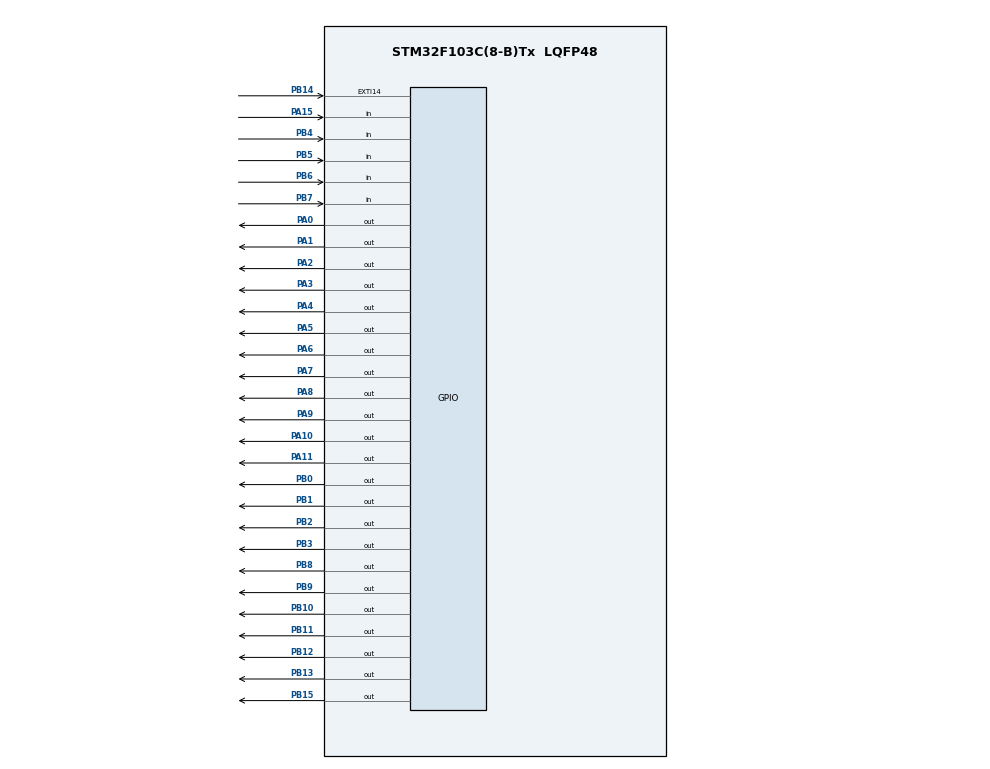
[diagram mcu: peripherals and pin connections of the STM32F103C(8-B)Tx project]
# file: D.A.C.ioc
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Mcu.Family=STM32F1
Mcu.Name=STM32F103C(8-B)Tx
Mcu.Package=LQFP48
NVIC.PriorityGroup=NVIC_PRIORITYGROUP_4
PA0-WKUP.Signal=GPIO_Output
PA1.Signal=GPIO_Output
PA10.Signal=GPIO_Output
PA11.Signal=GPIO_Output
PA13.Signal=SYS_JTMS-SWDIO
PA14.Signal=SYS_JTCK-SWCLK
PA15.Signal=GPIO_Input
PA2.Signal=GPIO_Output
PA3.Signal=GPIO_Output
PA4.Signal=GPIO_Output
PA5.Signal=GPIO_Output
PA6.Signal=GPIO_Output
PA7.Signal=GPIO_Output
PA8.Signal=GPIO_Output
PA9.Signal=GPIO_Output
PB0.Signal=GPIO_Output
PB1.Signal=GPIO_Output
PB10.Signal=GPIO_Output
PB11.Signal=GPIO_Output
PB12.Signal=GPIO_Output
PB13.Signal=GPIO_Output
PB14.Signal=GPXTI14
PB15.Signal=GPIO_Output
PB2.Signal=GPIO_Output
PB3.Signal=GPIO_Output
PB4.Signal=GPIO_Input
PB5.Signal=GPIO_Input
PB6.Signal=GPIO_Input
PB7.Signal=GPIO_Input
PB8.Signal=GPIO_Output
PB9.Signal=GPIO_Output
ProjectManager.HeapSize=0x200
ProjectManager.StackSize=0x400
ProjectManager.TargetToolchain=STM32CubeIDE
RCC.APB1Freq_Value=8000000
RCC.APB2Freq_Value=8000000
TIM1.Period=7999
TIM2.Period=799
VP_SYS_VS_ND.Mode=No_Debug
VP_TIM1_VS_ClockSourceINT.Mode=Internal
VP_TIM2_VS_ClockSourceINT.Mode=Internal
board=custom

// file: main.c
/* USER CODE BEGIN Header */
/**
  ******************************************************************************
  * @file           : main.c
  * @brief          : Main program body
  ******************************************************************************
  * @attention
  *
  * Copyright (c) 2026 STMicroelectronics.
  * All rights reserved.
  *
  * This software is licensed under terms that can be found in the LICENSE file
  * in the root directory of this software component.
  * If no LICENSE file comes with this software, it is provided AS-IS.
  *
  ******************************************************************************
  */
/* USER CODE END Header */
#include "main.h"

TIM_HandleTypeDef htim1;
TIM_HandleTypeDef htim2;

/* USER CODE BEGIN PV */
unsigned char disp[]={
        0xC0,0xF9,0xA4,0xB0,0x99,0x92,0x82,0xF8,0x80,0x90,
        0x88,0x83,0xC6,0xA1,0x86,0x8E,0xF7,0xFF,0xC1};

/*
0-9  : rakamlar
15   : F harfi
17   : boş karakter
18   : V gibi kullanılan karakter
*/

volatile unsigned char birler=0;
volatile unsigned char onlar=0;
volatile unsigned char yuzler=17;
volatile unsigned char binler=18;

volatile char i=0;
volatile unsigned char buton = 0;

#define SINE_TABLE_SIZE 64
#define TIMER_CLOCK_HZ 8000000UL
#define DAC_VREF_MV 3300UL

const uint8_t sineTable[SINE_TABLE_SIZE] = {
    128, 140, 153, 165, 177, 188, 199, 209,
    218, 226, 234, 240, 245, 250, 253, 255,
    255, 255, 253, 250, 245, 240, 234, 226,
    218, 209, 199, 188, 177, 165, 153, 140,
    128, 115, 102, 90, 78, 67, 56, 46,
    37, 29, 21, 15, 10, 5, 2, 0,
    0, 0, 2, 5, 10, 15, 21, 29,
    37, 46, 56, 67, 78, 90, 102, 115
};

volatile uint32_t phaseAcc = 0;
volatile uint32_t phaseStep = 0;

typedef enum
{
    MODE_VOLTAGE,
    MODE_FREQUENCY,
    MODE_RUN
} SystemMode;

volatile SystemMode mode = MODE_VOLTAGE;

volatile uint8_t amplitude_x10 = 33;    // 33 = 3.3V
volatile uint16_t frequency_hz = 100;   // başlangıç 100Hz
volatile uint8_t outputEnable = 0;

uint16_t inputValue = 0;
uint8_t inputCount = 0;

/* USER CODE END PV */

void SystemClock_Config(void);
static void MX_GPIO_Init(void);
static void MX_TIM1_Init(void);
static void MX_TIM2_Init(void);
/* USER CODE BEGIN PFP */
void DAC_Write_8bit(uint8_t value);
void Display_Mode_Value(uint8_t symbol, uint16_t value);
void Display_Frequency_Value(uint16_t value);
void Display_Output_Value(uint8_t amp, uint8_t freq);
void Set_Sine_Frequency(uint16_t freq);
void buton_kontrol(void);
void System_Reset_To_Input_Mode(void);
/* USER CODE END PFP */

/* USER CODE BEGIN 0 */
void DAC_Write_8bit(uint8_t value)
{
    uint32_t setMask;
    uint32_t resetMask;

    /*
     * DAC PB8-PB15 arasında.
     * BSRR ile sadece PB8-PB15 değiştirilir.
     * PB0-PB7 keypad pinlerine dokunulmaz.
     */

    setMask = ((uint32_t)value << 8);   // value bitleri PB8-PB15'e kaydırılır
    resetMask = 0xFF00;                 // PB8-PB15 temizlenecek pinler

    GPIOB->BSRR = (resetMask << 16) | setMask;
}
void System_Reset_To_Input_Mode(void)
{
    outputEnable = 0;

    HAL_TIM_Base_Stop_IT(&htim2);

    DAC_Write_8bit(0);

    phaseAcc = 0;
    phaseStep = 0;

    mode = MODE_VOLTAGE;
    inputValue = 0;
    inputCount = 0;

    amplitude_x10 = 0;
    frequency_hz = 0;

    Display_Mode_Value(18, 0);   // V 00
}

void Display_Mode_Value(uint8_t symbol, uint16_t value)
{
	/*
	 * Genlik için kullanılır:
	 * V 00 - V 33
	 */

    if(value > 99)
    {
        value = 99;
    }

    binler = symbol;       // V
    yuzler = 17;           // boş
    onlar  = value / 10;
    birler = value % 10;
}

void Display_Frequency_Value(uint16_t value)
{
    /*
     * Frekans seçimi:
     * F 00 - F 99
     */

    if(value > 99)
    {
        value = 99;
    }

    binler = 15;          // F
    yuzler = 17;          // boş
    onlar  = value / 10;
    birler = value % 10;
}
void Display_Output_Value(uint8_t amp, uint8_t freq)
{
    /*
     * Çalışma ekranı:
     * Sol 2 hane  → genlik
     * Sağ 2 hane → frekans
     *
     * Örnek:
     * amp = 20, freq = 34 → 2034
     */

    if(amp > 99)
    {
        amp = 99;
    }

    if(freq > 99)
    {
        freq = 99;
    }

    binler = amp / 10;
    yuzler = amp % 10;
    onlar  = freq / 10;
    birler = freq % 10;
}

void Set_Sine_Frequency(uint16_t freq)
{
    uint32_t sampleRate;

    if(freq < 1)
    {
        freq = 1;
    }

    if(freq > 99)
    {
        freq = 99;
    }

    /*
     * TIM2:
     * 8 MHz / (799 + 1) = 10000 Hz
     */
    sampleRate = 10000UL;

    phaseStep = ((uint64_t)freq * 4294967296ULL) / sampleRate;
}

void buton_kontrol(void)
{
    /*
     * RAKAM TUŞLARI
     * Çok basılırsa sadece son 2 hane tutulur.
     *
     * Örnek:
     * 1 2 3 4 basılırsa değer 34 olur.
     */

    if(buton < 10)
    {
        if(mode == MODE_RUN)
        {
            /*
             * Çıkış çalışırken rakam tuşları yeni değer girmesin.
             * Yeni seçim için PA15 reset kullanılacak.
             */
            return;
        }

        inputValue = ((inputValue % 10) * 10) + buton;
        inputCount++;

        if(mode == MODE_VOLTAGE)
        {
            Display_Mode_Value(18, inputValue);   // Vxx
        }

        else if(mode == MODE_FREQUENCY)
        {
            Display_Frequency_Value(inputValue);  // Fxx
        }
    }

    /*
     * A TUŞU: 1 artır
     */

    if(buton == 0x0A)
    {
        if(mode == MODE_VOLTAGE)
        {
            if(inputValue < 33)
            {
                inputValue++;
            }

            Display_Mode_Value(18, inputValue);
        }

        else if(mode == MODE_FREQUENCY)
        {
            if(inputValue < 99)
            {
                inputValue++;
            }

            Display_Frequency_Value(inputValue);
        }
    }

    /*
     * B TUŞU: 1 azalt
     */

    if(buton == 0x0B)
    {
        if(mode == MODE_VOLTAGE)
        {
            if(inputValue > 0)
            {
                inputValue--;
            }

            Display_Mode_Value(18, inputValue);
        }

        else if(mode == MODE_FREQUENCY)
        {
            if(inputValue > 0)
            {
                inputValue--;
            }

            Display_Frequency_Value(inputValue);
        }
    }

    /*
     * C TUŞU: seçilen değeri sıfırla
     */

    if(buton == 0x0C)
    {
        inputValue = 0;
        inputCount = 0;

        if(mode == MODE_VOLTAGE)
        {
            Display_Mode_Value(18, 0);       // V00
        }

        else if(mode == MODE_FREQUENCY)
        {
            Display_Frequency_Value(0);      // F00
        }
    }

    /*
     * D TUŞU: ONAY
     *
     * Genlik modundaysa:
     *   Genliği onaylar, frekans moduna geçer.
     *
     * Frekans modundaysa:
     *   Frekansı onaylar, sinüsü başlatır.
     */

    if(buton == 0x0D)
    {
        if(mode == MODE_VOLTAGE)
        {
            /*
             * Genlik maksimum 50 olabilir.
             * 50 üstü girildiyse kabul edilmez, V00'a döner.
             */

        	if(inputValue > 33)
        	{
        	    /*
        	     * 50 üstü genlik kabul edilmez.
        	     * Değeri sıfırlamıyoruz.
        	     * Kullanıcı A/B/C veya rakamlarla 50 altına çekene kadar
        	     * D tuşu onay vermeyecek.
        	     */
        	    Display_Mode_Value(18, inputValue);
        	    return;
        	}

            amplitude_x10 = (uint8_t)inputValue;

            inputValue = 0;
            inputCount = 0;

            mode = MODE_FREQUENCY;
            Display_Frequency_Value(0);      // F00
        }

        else if(mode == MODE_FREQUENCY)
        {
            /*
             * Frekans 2 haneli olacak.
             * 00 girilirse 1 Hz kabul edelim.
             */

            if(inputValue < 1)
            {
                inputValue = 1;
            }

            if(inputValue > 99)
            {
                inputValue = 99;
            }

            frequency_hz = inputValue;

            phaseAcc = 0;
            Set_Sine_Frequency(frequency_hz);

            outputEnable = 1;
            HAL_TIM_Base_Start_IT(&htim2);

            mode = MODE_RUN;

            /*
             * Çalışma ekranı:
             * Sol 2 hane genlik, sağ 2 hane frekans.
             */
            Display_Output_Value(amplitude_x10, frequency_hz);

            inputValue = 0;
            inputCount = 0;
        }
    }
}

/* USER CODE END 0 */

int main(void)
{

  /* MCU Configuration--------------------------------------------------------*/

  /* Reset of all peripherals, Initializes the Flash interface and the Systick. */
  HAL_Init();

  /* Configure the system clock */
  SystemClock_Config();

  /* Initialize all configured peripherals */
  MX_GPIO_Init();
  MX_TIM1_Init();
  MX_TIM2_Init();
  /* USER CODE BEGIN 2 */
  Display_Mode_Value(18, 0);      // Başlangıçta V 00 göster

  HAL_TIM_Base_Start_IT(&htim1);  // Display tarama

  // TIM2 başlangıçta çalışmayacak.
  // Genlik ve frekans girildikten sonra başlatılacak.
  // HAL_TIM_Base_Start_IT(&htim2);
  /* USER CODE END 2 */

  /* Infinite loop */
  /* USER CODE BEGIN WHILE */
  while (1)
  {
      if(HAL_GPIO_ReadPin(GPIOA, GPIO_PIN_15))
      {
          System_Reset_To_Input_Mode();
          HAL_Delay(300);
      }

      GPIOB->BSRR = ((uint32_t)0x000F << 16) | 0x01; // 1. satır PB0
      for(volatile int d = 0; d < 300; d++);

      if( HAL_GPIO_ReadPin(GPIOB, GPIO_PIN_4) ){
          buton = 1; buton_kontrol(); HAL_Delay(200);
      }
      if( HAL_GPIO_ReadPin(GPIOB, GPIO_PIN_5) ){
          buton = 2; buton_kontrol(); HAL_Delay(200);
      }
      if( HAL_GPIO_ReadPin(GPIOB, GPIO_PIN_6) ){
          buton = 3; buton_kontrol(); HAL_Delay(200);
      }
      if( HAL_GPIO_ReadPin(GPIOB, GPIO_PIN_7) ){
          buton = 0x0A; buton_kontrol(); HAL_Delay(200);
      }

      GPIOB->BSRR = ((uint32_t)0x000F << 16) | 0x02; // 2. satır PB1
      for(volatile int d = 0; d < 300; d++);

      if( HAL_GPIO_ReadPin(GPIOB, GPIO_PIN_4) ){
          buton = 4; buton_kontrol(); HAL_Delay(200);
      }
      if( HAL_GPIO_ReadPin(GPIOB, GPIO_PIN_5) ){
          buton = 5; buton_kontrol(); HAL_Delay(200);
      }
      if( HAL_GPIO_ReadPin(GPIOB, GPIO_PIN_6) ){
          buton = 6; buton_kontrol(); HAL_Delay(200);
      }
      if( HAL_GPIO_ReadPin(GPIOB, GPIO_PIN_7) ){
          buton = 0x0B; buton_kontrol(); HAL_Delay(200);
      }

      GPIOB->BSRR = ((uint32_t)0x000F << 16) | 0x04; // 3. satır PB2
      for(volatile int d = 0; d < 300; d++);

      if( HAL_GPIO_ReadPin(GPIOB, GPIO_PIN_4) ){
          buton = 7; buton_kontrol(); HAL_Delay(200);
      }
      if( HAL_GPIO_ReadPin(GPIOB, GPIO_PIN_5) ){
          buton = 8; buton_kontrol(); HAL_Delay(200);
      }
      if( HAL_GPIO_ReadPin(GPIOB, GPIO_PIN_6) ){
          buton = 9; buton_kontrol(); HAL_Delay(200);
      }
      if( HAL_GPIO_ReadPin(GPIOB, GPIO_PIN_7) ){
          buton = 0x0C; buton_kontrol(); HAL_Delay(200);
      }

      GPIOB->BSRR = ((uint32_t)0x000F << 16) | 0x08; // 4. satır PB3
      for(volatile int d = 0; d < 300; d++);

      if( HAL_GPIO_ReadPin(GPIOB, GPIO_PIN_4) ){
          buton = 0x0F; buton_kontrol(); HAL_Delay(200);
      }
      if( HAL_GPIO_ReadPin(GPIOB, GPIO_PIN_5) ){
          buton = 0; buton_kontrol(); HAL_Delay(200);
      }
      if( HAL_GPIO_ReadPin(GPIOB, GPIO_PIN_6) ){
          buton = 0x0E; buton_kontrol(); HAL_Delay(200);
      }
      if( HAL_GPIO_ReadPin(GPIOB, GPIO_PIN_7) ){
          buton = 0x0D; buton_kontrol(); HAL_Delay(200);
      }
  }
    /* USER CODE END WHILE */

}

void SystemClock_Config(void)
{
  RCC_OscInitTypeDef RCC_OscInitStruct = {0};
  RCC_ClkInitTypeDef RCC_ClkInitStruct = {0};

  /** Initializes the RCC Oscillators according to the specified parameters
  * in the RCC_OscInitTypeDef structure.
  */
  RCC_OscInitStruct.OscillatorType = RCC_OSCILLATORTYPE_HSI;
  RCC_OscInitStruct.HSIState = RCC_HSI_ON;
  RCC_OscInitStruct.HSICalibrationValue = RCC_HSICALIBRATION_DEFAULT;
  RCC_OscInitStruct.PLL.PLLState = RCC_PLL_NONE;
  if (HAL_RCC_OscConfig(&RCC_OscInitStruct) != HAL_OK)
  {
    Error_Handler();
  }

  /** Initializes the CPU, AHB and APB buses clocks
  */
  RCC_ClkInitStruct.ClockType = RCC_CLOCKTYPE_HCLK|RCC_CLOCKTYPE_SYSCLK
                              |RCC_CLOCKTYPE_PCLK1|RCC_CLOCKTYPE_PCLK2;
  RCC_ClkInitStruct.SYSCLKSource = RCC_SYSCLKSOURCE_HSI;
  RCC_ClkInitStruct.AHBCLKDivider = RCC_SYSCLK_DIV1;
  RCC_ClkInitStruct.APB1CLKDivider = RCC_HCLK_DIV1;
  RCC_ClkInitStruct.APB2CLKDivider = RCC_HCLK_DIV1;

  if (HAL_RCC_ClockConfig(&RCC_ClkInitStruct, FLASH_LATENCY_0) != HAL_OK)
  {
    Error_Handler();
  }
}

static void MX_TIM1_Init(void)
{

  TIM_ClockConfigTypeDef sClockSourceConfig = {0};
  TIM_MasterConfigTypeDef sMasterConfig = {0};

  htim1.Instance = TIM1;
  htim1.Init.Prescaler = 0;
  htim1.Init.CounterMode = TIM_COUNTERMODE_UP;
  htim1.Init.Period = 7999;
  htim1.Init.ClockDivision = TIM_CLOCKDIVISION_DIV1;
  htim1.Init.RepetitionCounter = 0;
  htim1.Init.AutoReloadPreload = TIM_AUTORELOAD_PRELOAD_DISABLE;
  if (HAL_TIM_Base_Init(&htim1) != HAL_OK)
  {
    Error_Handler();
  }
  sClockSourceConfig.ClockSource = TIM_CLOCKSOURCE_INTERNAL;
  if (HAL_TIM_ConfigClockSource(&htim1, &sClockSourceConfig) != HAL_OK)
  {
    Error_Handler();
  }
  sMasterConfig.MasterOutputTrigger = TIM_TRGO_RESET;
  sMasterConfig.MasterSlaveMode = TIM_MASTERSLAVEMODE_DISABLE;
  if (HAL_TIMEx_MasterConfigSynchronization(&htim1, &sMasterConfig) != HAL_OK)
  {
    Error_Handler();
  }

}

static void MX_TIM2_Init(void)
{

  TIM_ClockConfigTypeDef sClockSourceConfig = {0};
  TIM_MasterConfigTypeDef sMasterConfig = {0};

  htim2.Instance = TIM2;
  htim2.Init.Prescaler = 0;
  htim2.Init.CounterMode = TIM_COUNTERMODE_UP;
  htim2.Init.Period = 799;
  htim2.Init.ClockDivision = TIM_CLOCKDIVISION_DIV1;
  htim2.Init.AutoReloadPreload = TIM_AUTORELOAD_PRELOAD_DISABLE;
  if (HAL_TIM_Base_Init(&htim2) != HAL_OK)
  {
    Error_Handler();
  }
  sClockSourceConfig.ClockSource = TIM_CLOCKSOURCE_INTERNAL;
  if (HAL_TIM_ConfigClockSource(&htim2, &sClockSourceConfig) != HAL_OK)
  {
    Error_Handler();
  }
  sMasterConfig.MasterOutputTrigger = TIM_TRGO_RESET;
  sMasterConfig.MasterSlaveMode = TIM_MASTERSLAVEMODE_DISABLE;
  if (HAL_TIMEx_MasterConfigSynchronization(&htim2, &sMasterConfig) != HAL_OK)
  {
    Error_Handler();
  }

}

static void MX_GPIO_Init(void)
{
  GPIO_InitTypeDef GPIO_InitStruct = {0};

  /* GPIO Ports Clock Enable */
  __HAL_RCC_GPIOA_CLK_ENABLE();
  __HAL_RCC_GPIOB_CLK_ENABLE();

  /*Configure GPIO pin Output Level */
  HAL_GPIO_WritePin(GPIOA, GPIO_PIN_0|GPIO_PIN_1|GPIO_PIN_2|GPIO_PIN_3
                          |GPIO_PIN_4|GPIO_PIN_5|GPIO_PIN_6|GPIO_PIN_7
                          |GPIO_PIN_8|GPIO_PIN_9|GPIO_PIN_10|GPIO_PIN_11, GPIO_PIN_RESET);

  /*Configure GPIO pin Output Level */
  HAL_GPIO_WritePin(GPIOB, GPIO_PIN_0|GPIO_PIN_1|GPIO_PIN_2|GPIO_PIN_10
                          |GPIO_PIN_11|GPIO_PIN_12|GPIO_PIN_13|GPIO_PIN_14
                          |GPIO_PIN_15|GPIO_PIN_3|GPIO_PIN_8|GPIO_PIN_9, GPIO_PIN_RESET);

  /*Configure GPIO pins : PA0 PA1 PA2 PA3
                           PA4 PA5 PA6 PA7
                           PA8 PA9 PA10 PA11 */
  GPIO_InitStruct.Pin = GPIO_PIN_0|GPIO_PIN_1|GPIO_PIN_2|GPIO_PIN_3
                          |GPIO_PIN_4|GPIO_PIN_5|GPIO_PIN_6|GPIO_PIN_7
                          |GPIO_PIN_8|GPIO_PIN_9|GPIO_PIN_10|GPIO_PIN_11;
  GPIO_InitStruct.Mode = GPIO_MODE_OUTPUT_PP;
  GPIO_InitStruct.Pull = GPIO_NOPULL;
  GPIO_InitStruct.Speed = GPIO_SPEED_FREQ_LOW;
  HAL_GPIO_Init(GPIOA, &GPIO_InitStruct);

  /*Configure GPIO pins : PB0 PB1 PB2 PB10
                           PB11 PB12 PB13 PB14
                           PB15 PB3 PB8 PB9 */
  GPIO_InitStruct.Pin = GPIO_PIN_0|GPIO_PIN_1|GPIO_PIN_2|GPIO_PIN_10
                          |GPIO_PIN_11|GPIO_PIN_12|GPIO_PIN_13|GPIO_PIN_14
                          |GPIO_PIN_15|GPIO_PIN_3|GPIO_PIN_8|GPIO_PIN_9;
  GPIO_InitStruct.Mode = GPIO_MODE_OUTPUT_PP;
  GPIO_InitStruct.Pull = GPIO_NOPULL;
  GPIO_InitStruct.Speed = GPIO_SPEED_FREQ_LOW;
  HAL_GPIO_Init(GPIOB, &GPIO_InitStruct);

  /*Configure GPIO pin : PA15 */
  GPIO_InitStruct.Pin = GPIO_PIN_15;
  GPIO_InitStruct.Mode = GPIO_MODE_INPUT;
  GPIO_InitStruct.Pull = GPIO_PULLDOWN;
  HAL_GPIO_Init(GPIOA, &GPIO_InitStruct);

  /*Configure GPIO pins : PB4 PB5 PB6 PB7 */
  GPIO_InitStruct.Pin = GPIO_PIN_4|GPIO_PIN_5|GPIO_PIN_6|GPIO_PIN_7;
  GPIO_InitStruct.Mode = GPIO_MODE_INPUT;
  GPIO_InitStruct.Pull = GPIO_PULLDOWN;
  HAL_GPIO_Init(GPIOB, &GPIO_InitStruct);

}

/* USER CODE BEGIN 4 */
void HAL_TIM_PeriodElapsedCallback(TIM_HandleTypeDef *htim)
{
	if(HAL_GPIO_ReadPin(GPIOA, GPIO_PIN_15))
	{
	    System_Reset_To_Input_Mode();
	    return;
	}
    /*
     * TIM1: 7-segment display tarama
     */
    if(htim->Instance == TIM1)
    {
        i++;

        if(i == 1)
        {
            GPIOA->ODR = 0x0000;
            GPIOA->ODR |= (disp[birler] << 4);
            GPIOA->ODR &= 0xFFF0;
            GPIOA->ODR |= 0x01;
        }

        if(i == 2)
        {
            GPIOA->ODR = 0x0000;
            GPIOA->ODR |= (disp[onlar] << 4);
            GPIOA->ODR &= 0xFFF0;
            GPIOA->ODR |= 0x02;
        }

        if(i == 3)
        {
            GPIOA->ODR = 0x0000;
            GPIOA->ODR |= (disp[yuzler] << 4);
            GPIOA->ODR &= 0xFFF0;
            GPIOA->ODR |= 0x04;
        }

        if(i == 4)
        {
            GPIOA->ODR = 0x0000;
            GPIOA->ODR |= (disp[binler] << 4);
            GPIOA->ODR &= 0xFFF0;
            GPIOA->ODR |= 0x08;
            i = 0;
        }
    }

    /*
     * TIM2: DAC sinüs üretimi
     */
    if(htim->Instance == TIM2)
    {
        uint8_t dacValue;
        uint32_t maxVoltage_mV;
        uint8_t index;

        if(outputEnable)
        {
            maxVoltage_mV = amplitude_x10 * 100;

            /*
             * 64 elemanlı tablo için üst 6 bit index olarak alınır.
             */
            index = phaseAcc >> 26;

            dacValue = ((uint32_t)sineTable[index] * maxVoltage_mV) / DAC_VREF_MV;

            DAC_Write_8bit(dacValue);

            phaseAcc += phaseStep;
        }
        else
        {
            DAC_Write_8bit(0);
        }
    }
}
/* USER CODE END 4 */

void Error_Handler(void)
{
  __disable_irq();
  while (1)
  {
  }
}
